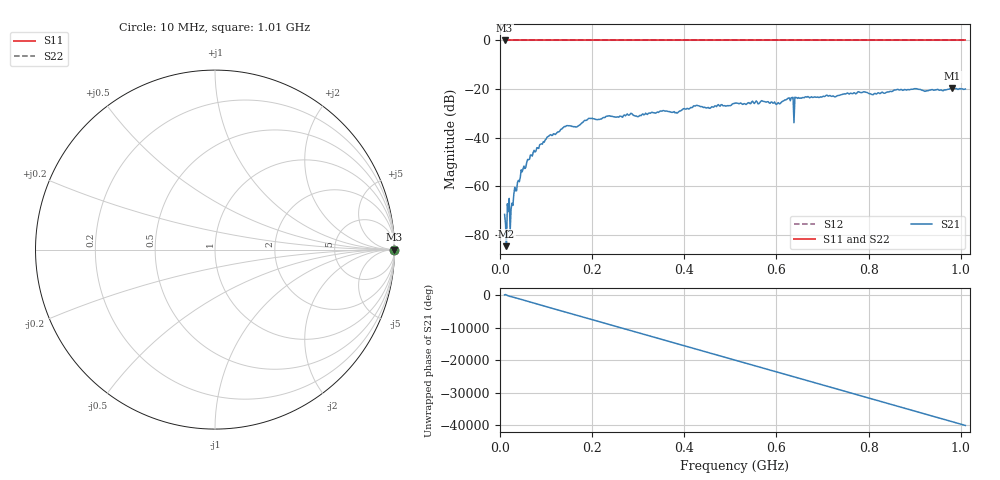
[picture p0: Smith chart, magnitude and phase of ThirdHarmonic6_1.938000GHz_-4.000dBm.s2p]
! 8/16/2025 11:20:49 PM
! C:\ANRITSUVNA\TEMP\TEMP.S2P
! CHANNEL.1
! TR.MEASUREMENT
! RAW.DATA
! RF.CORRECTION.OFF
! AVERAGING.OFF
! IF.BANDWIDTH: 5KHZ
! SWEEPTYPE:  FREQ.SWEEP(Linear)
! Reference Plane Port Info
! PORT:  PORT1  PORT2
! DISTANCE:  0  m  0  m
! TIME:  0  s  0  s
! PHASE.OFFSET:  0  deg.  0  deg.
! LOSS:  0  dB  0  dB
! REF.LOSS:  0  dB  0  dB
! REF.FREQ:  0  Hz  0  Hz
! Power Info
! POWER:  -20  dBm  -20  dBm
! EFF.POWER:  -20  dBm  -20  dBm
! SOURCE.ATTEN:  0  dB  0  dB
! TEST.ATTEN:  0  dB  0  dB
# GHZ S RI R 50.0
! FREQ.GHZ  S11RE  S11IM  S21RE  S21IM  S12RE  S12IM  S22RE  S22IM
!; PortSelection: Port_12
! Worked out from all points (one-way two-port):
!   501 points, 10 MHz to 1.01 GHz, reference 50 ohm
!   highest |S21| = -19.69 dB at 982 MHz (marker M1); lowest = -84.8 dB at 14 MHz (marker M2)
!   lowest |S11| = 0.0 dB at 10 MHz (marker M3)
!   |S11| at or under -10 dB: nowhere
!   |S22| runs from 0.0 to 0.0 dB; largest |S21 - S12| = 1.1
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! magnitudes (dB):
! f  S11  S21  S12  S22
! 10 MHz  0.0  -71.7  0.0  0.0
! 14 MHz  0.0  -84.8  0.0  0.0
! 26 MHz  0.0  -67.1  0.0  0.0
! 28 MHz  0.0  -68.0  0.0  0.0
! 34 MHz  0.0  -61.9  0.0  0.0
! 48 MHz  0.0  -54.2  0.0  0.0
! 70 MHz  0.0  -47.7  0.0  0.0
! 106 MHz  0.0  -39.4  0.0  0.0
! 142 MHz  0.0  -35.5  0.0  0.0
! 178 MHz  0.0  -33.9  0.0  0.0
! 196 MHz  0.0  -32.1  0.0  0.0
! 344 MHz  0.0  -29.7  0.0  0.0
! 510 MHz  0.0  -25.8  0.0  0.0
! 604 MHz  0.0  -25.6  0.0  0.0
! 632 MHz  0.0  -23.6  0.0  0.0
! 634 MHz  0.0  -23.5  0.0  0.0
! 642 MHz  0.0  -23.5  0.0  0.0
! 644 MHz  0.0  -23.6  0.0  0.0
! 678 MHz  0.0  -23.5  0.0  0.0
! 844 MHz  0.0  -21.2  0.0  0.0
! 982 MHz  0.0  -19.7  0.0  0.0
! 1.01 GHz  0.0  -20.0  0.0  0.0
